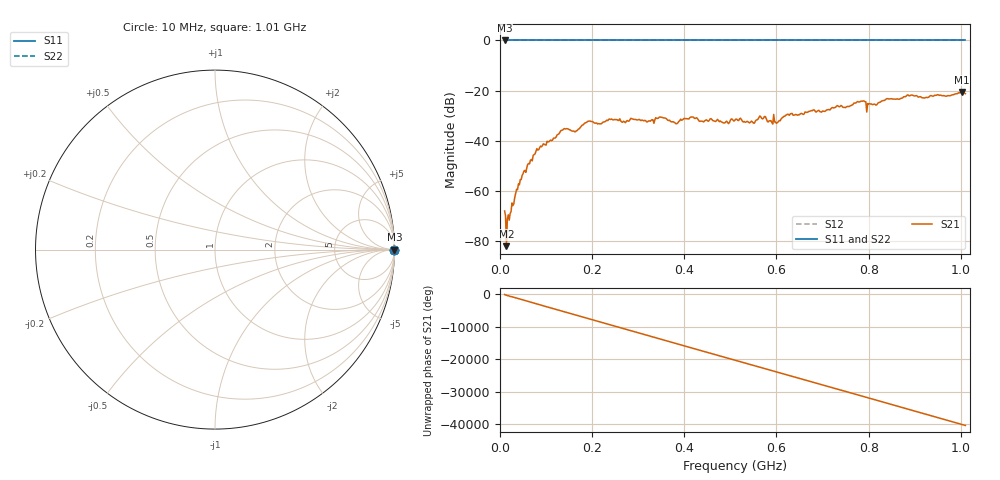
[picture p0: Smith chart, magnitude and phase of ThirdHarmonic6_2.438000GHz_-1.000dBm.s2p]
! 8/17/2025 4:16:22 AM
! C:\ANRITSUVNA\TEMP\TEMP.S2P
! CHANNEL.1
! TR.MEASUREMENT
! RAW.DATA
! RF.CORRECTION.OFF
! AVERAGING.OFF
! IF.BANDWIDTH: 5KHZ
! SWEEPTYPE:  FREQ.SWEEP(Linear)
! Reference Plane Port Info
! PORT:  PORT1  PORT2
! DISTANCE:  0  m  0  m
! TIME:  0  s  0  s
! PHASE.OFFSET:  0  deg.  0  deg.
! LOSS:  0  dB  0  dB
! REF.LOSS:  0  dB  0  dB
! REF.FREQ:  0  Hz  0  Hz
! Power Info
! POWER:  -20  dBm  -20  dBm
! EFF.POWER:  -20  dBm  -20  dBm
! SOURCE.ATTEN:  0  dB  0  dB
! TEST.ATTEN:  0  dB  0  dB
# GHZ S RI R 50.0
! FREQ.GHZ  S11RE  S11IM  S21RE  S21IM  S12RE  S12IM  S22RE  S22IM
!; PortSelection: Port_12
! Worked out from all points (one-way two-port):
!   501 points, 10 MHz to 1.01 GHz, reference 50 ohm
!   highest |S21| = -20.60 dB at 1.002 GHz (marker M1); lowest = -82.1 dB at 14 MHz (marker M2)
!   lowest |S11| = 0.0 dB at 10 MHz (marker M3)
!   |S11| at or under -10 dB: nowhere
!   |S22| runs from 0.0 to 0.0 dB; largest |S21 - S12| = 1.1
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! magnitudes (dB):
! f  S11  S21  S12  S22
! 10 MHz  0.0  -68.0  0.0  0.0
! 14 MHz  0.0  -82.1  0.0  0.0
! 18 MHz  0.0  -69.6  0.0  0.0
! 48 MHz  0.0  -53.9  0.0  0.0
! 76 MHz  0.0  -45.3  0.0  0.0
! 136 MHz  0.0  -35.7  0.0  0.0
! 164 MHz  0.0  -36.4  0.0  0.0
! 178 MHz  0.0  -33.8  0.0  0.0
! 344 MHz  0.0  -31.0  0.0  0.0
! 382 MHz  0.0  -33.3  0.0  0.0
! 416 MHz  0.0  -30.5  0.0  0.0
! 510 MHz  0.0  -31.8  0.0  0.0
! 548 MHz  0.0  -32.5  0.0  0.0
! 566 MHz  0.0  -30.5  0.0  0.0
! 600 MHz  0.0  -33.0  0.0  0.0
! 622 MHz  0.0  -29.7  0.0  0.0
! 678 MHz  0.0  -28.0  0.0  0.0
! 786 MHz  0.0  -24.2  0.0  0.0
! 814 MHz  0.0  -25.5  0.0  0.0
! 844 MHz  0.0  -23.4  0.0  0.0
! 1.002 GHz  0.0  -20.6  0.0  0.0
! 1.01 GHz  0.0  -21.2  0.0  0.0
